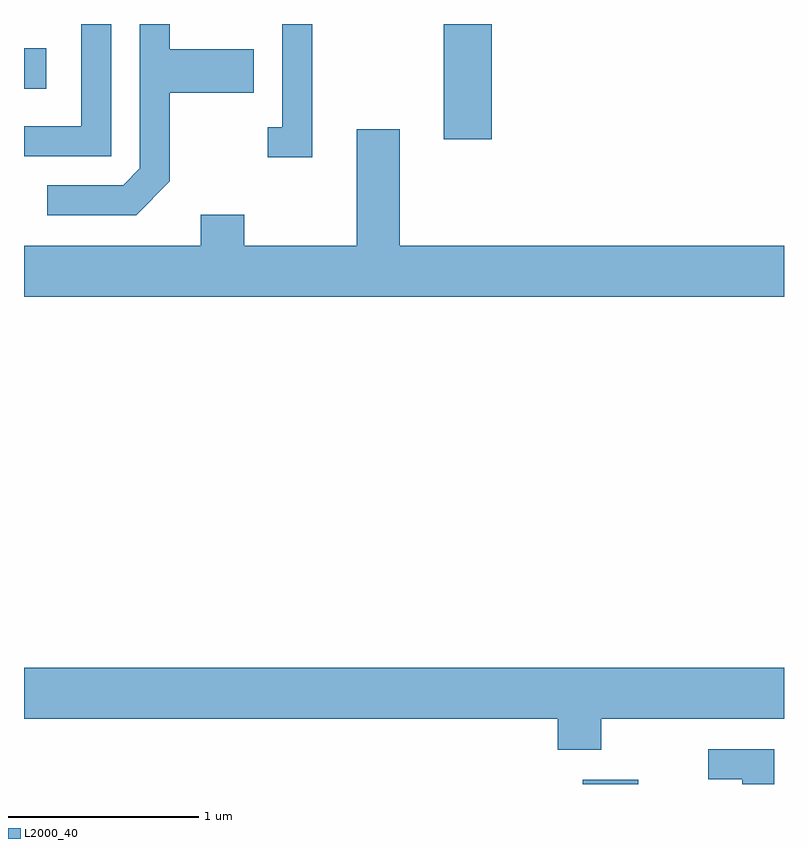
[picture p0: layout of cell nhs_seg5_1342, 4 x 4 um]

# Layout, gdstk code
import gdstk
lib = gdstk.Library(unit=1e-6, precision=1e-09)
def R(c, l, rs):  # rectangles x0, y0, x1, y1
    for r in rs: c.add(gdstk.rectangle(r[:2], r[2:], *l))
def P(c, l, *ps):  # polygons
    for p in ps: c.add(gdstk.Polygon(p, *l))
L2000_40 = (2000, 40)

nhs_seg5_1342 = lib.new_cell('nhs_seg5_1342')
R(nhs_seg5_1342, L2000_40, [(228.551,1392.072,228.844,1392.094), (227.821,1395.466,228.074,1396.072), (225.611,1395.731,225.729,1395.944)])
P(nhs_seg5_1342, L2000_40, [(227.129,1396.072),(226.971,1396.072),(226.971,1395.529),(226.893,1395.529),(226.893,1395.371),(227.129,1395.371)],
  [(226.069,1396.072),(225.911,1396.072),(225.911,1395.534),(225.611,1395.534),(225.611,1395.376),(226.069,1395.376)],
  [(226.379,1395.244),(226.379,1395.711),(226.819,1395.711),(226.819,1395.939),(226.379,1395.939),(226.379,1396.072),(226.221,1396.072),(226.221,1395.312),(226.134,1395.224),(225.733,1395.224),(225.733,1395.066),(226.202,1395.066)],
  [(229.611,1394.904),(227.589,1394.904),(227.589,1395.519),(227.361,1395.519),(227.361,1394.904),(226.769,1394.904),(226.769,1395.069),(226.541,1395.069),(226.541,1394.904),(225.611,1394.904),(225.611,1394.636),(229.611,1394.636)],
  [(225.611,1392.416),(228.421,1392.416),(228.421,1392.251),(228.649,1392.251),(228.649,1392.416),(229.611,1392.416),(229.611,1392.684),(225.611,1392.684)],
  [(229.559,1392.254),(229.213,1392.254),(229.213,1392.096),(229.391,1392.096),(229.391,1392.072),(229.559,1392.072)])

lib.write_gds('nhs_seg5_1342.gds')
